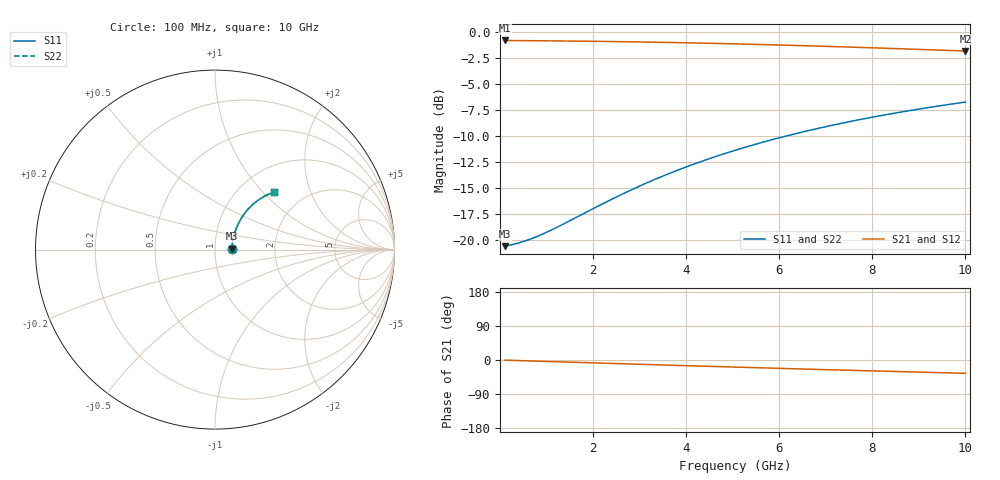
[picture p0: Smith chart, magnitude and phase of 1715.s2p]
# Hz S RI R 50.00
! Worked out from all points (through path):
!   100 points, 100 MHz to 10 GHz, reference 50 ohm
!   highest |S21| = -0.85 dB at 100 MHz (marker M1); lowest = -1.9 dB at 10 GHz (marker M2)
!   group delay of S21, straight-line fit = 9.77 ps
!   lowest |S11| = -20.6 dB at 100 MHz (marker M3), VSWR 1.21, Z = 60.3 + j0.56 ohm
!   |S11| at or under -10 dB: start of sweep to 6.174 GHz
!   |S22| runs from -20.6 to -6.8 dB; largest |S21 - S12| = 0
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1e8  0.0932 0.0046  0.9068 -0.00602  0.9068 -0.00602  0.0932 0.0046
3e8  0.0944 0.0138  0.9056 -0.018  0.9056 -0.018  0.0944 0.0138
5e8  0.0955 0.0229  0.9045 -0.03  0.9045 -0.03  0.0955 0.0229
8e8  0.0973 0.0365  0.9026 -0.0478  0.9026 -0.0478  0.0973 0.0365
1e9  0.0987 0.0455  0.9011 -0.0597  0.9011 -0.0597  0.0987 0.0455
1.2e9  0.1004 0.0545  0.8995 -0.0715  0.8995 -0.0715  0.1004 0.0545
1.8e9  0.1065 0.0811  0.8932 -0.1066  0.8932 -0.1066  0.1065 0.0811
2.2e9  0.1116 0.0984  0.8879 -0.1296  0.8879 -0.1296  0.1116 0.0984
2.6e9  0.1175 0.1154  0.8817 -0.1522  0.8817 -0.1522  0.1175 0.1154
3e9  0.1243 0.1319  0.8748 -0.1744  0.8748 -0.1744  0.1243 0.1319
3.4e9  0.1318 0.148  0.867 -0.1962  0.867 -0.1962  0.1318 0.148
3.8e9  0.1401 0.1635  0.8584 -0.2174  0.8584 -0.2174  0.1401 0.1635
4.2e9  0.149 0.1785  0.8491 -0.2381  0.8491 -0.2381  0.149 0.1785
4.6e9  0.1587 0.1929  0.8391 -0.2582  0.8391 -0.2582  0.1587 0.1929
5.1e9  0.1716 0.21  0.8257 -0.2824  0.8257 -0.2824  0.1716 0.21
5.5e9  0.1825 0.223  0.8143 -0.3011  0.8143 -0.3011  0.1825 0.223
5.9e9  0.1939 0.2353  0.8023 -0.3191  0.8023 -0.3191  0.1939 0.2353
6.7e9  0.2181 0.2577  0.7771 -0.353  0.7771 -0.353  0.2181 0.2577
7.5e9  0.2437 0.2773  0.7502 -0.3841  0.7502 -0.3841  0.2437 0.2773
8.4e9  0.2737 0.2958  0.7187 -0.4157  0.7187 -0.4157  0.2737 0.2958
9.2e9  0.3011 0.3093  0.6898 -0.4408  0.6898 -0.4408  0.3011 0.3093
1e10  0.3287 0.32  0.6605 -0.4632  0.6605 -0.4632  0.3287 0.32
